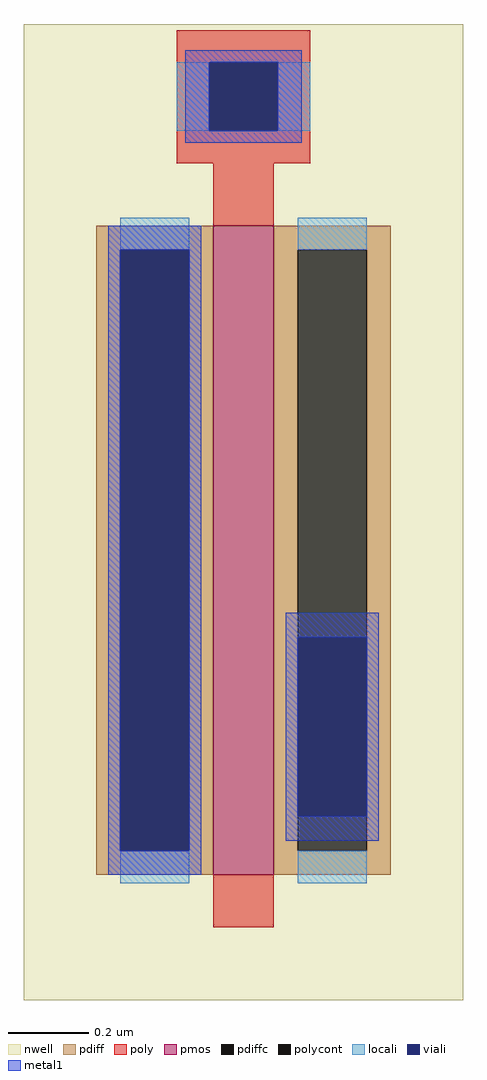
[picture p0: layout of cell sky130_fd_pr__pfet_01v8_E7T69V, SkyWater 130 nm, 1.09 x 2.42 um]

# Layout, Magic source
magic
tech sky130A
magscale 1 2
<< nwell >>
rect -109 -259 109 225
<< pmos >>
rect -15 -197 15 125
<< pdiff >>
rect -73 113 -15 125
rect -73 -185 -61 113
rect -27 -185 -15 113
rect -73 -197 -15 -185
rect 15 113 73 125
rect 15 -185 27 113
rect 61 -185 73 113
rect 15 -197 73 -185
<< pdiffc >>
rect -61 -185 -27 113
rect 27 -185 61 113
<< poly >>
rect -33 206 33 222
rect -33 172 -17 206
rect 17 172 33 206
rect -33 156 33 172
rect -15 125 15 156
rect -15 -223 15 -197
<< polycont >>
rect -17 172 17 206
<< locali >>
rect -33 172 -17 206
rect 17 172 33 206
rect -61 113 -27 129
rect -61 -201 -27 -185
rect 27 113 61 129
rect 27 -201 61 -185
<< viali >>
rect -17 172 17 206
rect -61 -185 -27 113
rect 27 -168 61 -79
<< metal1 >>
rect -29 206 29 212
rect -29 172 -17 206
rect 17 172 29 206
rect -29 166 29 172
rect -67 113 -21 125
rect -67 -185 -61 113
rect -27 -185 -21 113
rect 21 -79 67 -67
rect 21 -168 27 -79
rect 61 -168 67 -79
rect 21 -180 67 -168
rect -67 -197 -21 -185
<< properties >>
string gencell sky130_fd_pr__pfet_01v8
string library sky130
string parameters w 1.605 l 0.15 m 1 nf 1 diffcov 100 polycov 100 guard 0 glc 1 grc 1 gtc 1 gbc 1 tbcov 100 rlcov 100 topc 1 botc 0 poverlap 0 doverlap 1 lmin 0.15 wmin 0.42 compatible {sky130_fd_pr__pfet_01v8  sky130_fd_pr__pfet_01v8_lvt sky130_fd_pr__pfet_01v8_hvt  sky130_fd_pr__pfet_g5v0d10v5} full_metal 0 viasrc +30 viadrn 100 viagate 100 viagb 0 viagr 0 viagl 0 viagt 0
<< end >>
